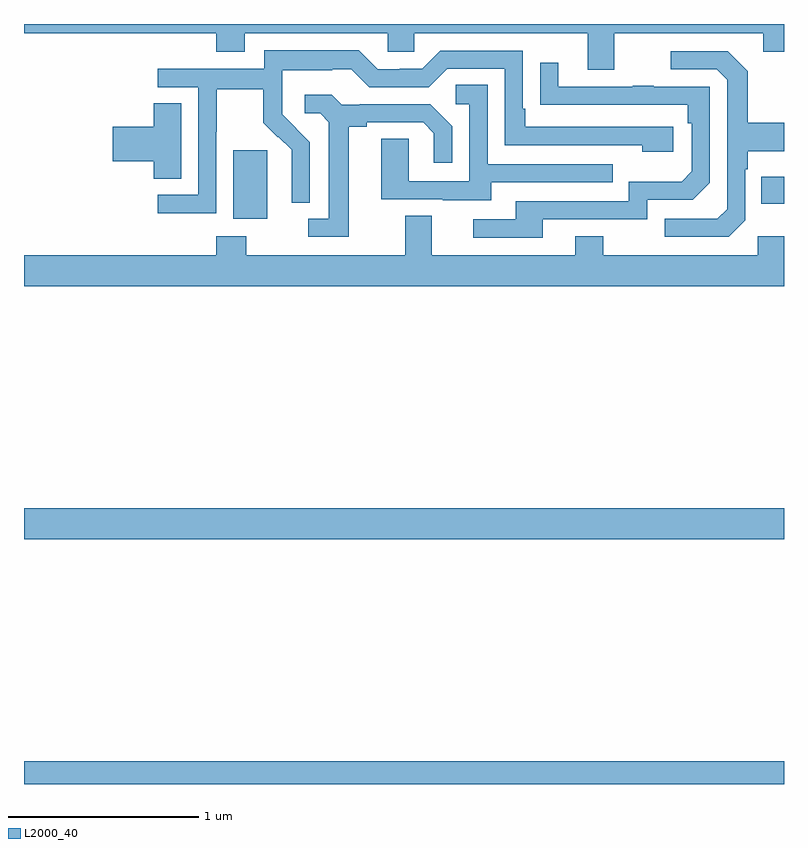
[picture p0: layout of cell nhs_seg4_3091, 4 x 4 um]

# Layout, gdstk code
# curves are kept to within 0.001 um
import gdstk
lib = gdstk.Library(unit=1e-6, precision=1e-09)
def R(c, l, rs):  # rectangles x0, y0, x1, y1
    for r in rs: c.add(gdstk.rectangle(r[:2], r[2:], *l))
def P(c, l, *ps):  # polygons
    for p in ps: c.add(gdstk.Polygon(p, *l))
L2000_40 = (2000, 40)

nhs_seg4_3091 = lib.new_cell('nhs_seg4_3091')
R(nhs_seg4_3091, L2000_40, [(275,760.9,279,761.02), (275,762.188,279,762.352), (276.101,763.874,276.28,764.235), (278.881,763.955,279,764.095)])
P(nhs_seg4_3091, L2000_40, [(278.107,764.852),(278.891,764.852),(278.891,764.753),(279,764.753),(279,764.9),(275,764.9),(275,764.852),(276.011,764.852),(276.011,764.753),(276.163,764.753),(276.163,764.852),(276.915,764.852),(276.915,764.754),(277.053,764.754),(277.053,764.852),(277.967,764.852),(277.967,764.658),(278.107,764.658)],
  [(276.012,764.332),(276.015,764.332),(276.015,764.556),(276.259,764.556),(276.259,764.381),(276.336,764.304),(276.339,764.307),(276.41,764.237),(276.41,764.114),(276.408,764.114),(276.408,763.96),(276.504,763.96),(276.504,764.278),(276.358,764.426),(276.358,764.523),(276.36,764.523),(276.36,764.657),(276.623,764.657),(276.623,764.661),(276.723,764.661),(276.816,764.568),(277.131,764.568),(277.227,764.664),(277.53,764.664),(277.53,764.262),(278.255,764.262),(278.255,764.228),(278.416,764.228),(278.416,764.358),(277.639,764.358),(277.639,764.455),(277.626,764.455),(277.626,764.76),(277.191,764.76),(277.095,764.664),(276.977,764.664),(276.977,764.661),(276.861,764.661),(276.761,764.761),(276.264,764.761),(276.264,764.664),(275.703,764.664),(275.703,764.568),(275.916,764.568),(275.916,764.001),(275.703,764.001),(275.703,763.903),(276.012,763.903)],
  [(278.796,763.866),(278.796,764.135),(278.809,764.135),(278.809,764.231),(279,764.231),(279,764.379),(278.809,764.379),(278.809,764.651),(278.703,764.757),(278.403,764.757),(278.403,764.661),(278.646,764.661),(278.7,764.607),(278.7,763.926),(278.649,763.875),(278.373,763.875),(278.373,763.779),(278.709,763.779)],
  [(277.729,763.872),(278.28,763.872),(278.28,763.974),(278.52,763.974),(278.61,764.064),(278.61,764.571),(278.315,764.571),(278.315,764.576),(278.203,764.576),(278.203,764.571),(277.813,764.571),(277.813,764.695),(277.717,764.695),(277.717,764.476),(278.494,764.475),(278.494,764.378),(278.514,764.378),(278.514,764.124),(278.461,764.071),(278.184,764.071),(278.184,763.968),(277.589,763.968),(277.589,763.872),(277.365,763.872),(277.365,763.776),(277.729,763.776)],
  [(277.459,764.067),(278.099,764.067),(278.099,764.163),(277.44,764.163),(277.44,764.579),(277.272,764.579),(277.272,764.478),(277.344,764.478),(277.344,764.073),(277.026,764.073),(277.026,764.297),(276.881,764.297),(276.881,763.977),(277.205,763.977),(277.205,763.973),(277.459,763.973)],
  [(276.709,764.36),(276.805,764.36),(276.805,764.382),(277.1,764.382),(277.157,764.325),(277.157,764.169),(277.254,764.169),(277.254,764.362),(277.138,764.478),(276.766,764.478),(276.766,764.475),(276.672,764.475),(276.62,764.527),(276.477,764.527),(276.477,764.43),(276.558,764.43),(276.605,764.383),(276.605,763.875),(276.495,763.875),(276.495,763.779),(276.709,763.779)],
  [(275.827,764.483),(275.684,764.483),(275.684,764.36),(275.466,764.36),(275.466,764.177),(275.684,764.177),(275.684,764.086),(275.827,764.086)],
  [(279,763.783),(278.862,763.783),(278.862,763.684),(278.049,763.684),(278.049,763.783),(277.901,763.783),(277.901,763.684),(277.147,763.684),(277.147,763.892),(277.007,763.892),(277.007,763.684),(276.171,763.684),(276.171,763.783),(276.011,763.783),(276.011,763.684),(275,763.684),(275,763.52),(279,763.52)])

lib.write_gds('nhs_seg4_3091.gds')
